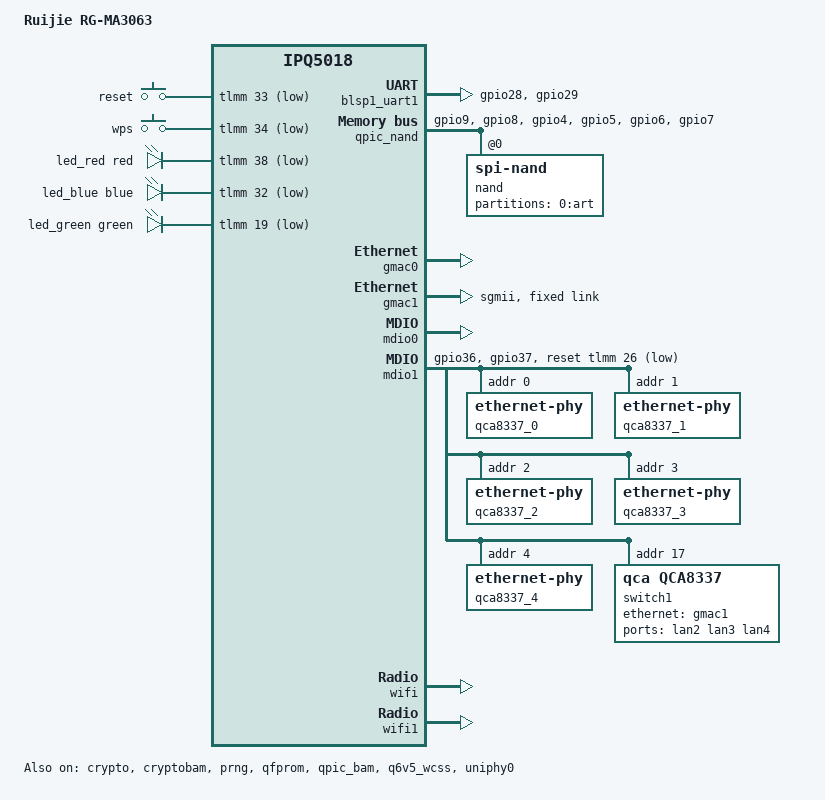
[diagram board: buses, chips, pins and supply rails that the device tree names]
// SPDX-License-Identifier: GPL-2.0-or-later OR MIT

// Port mapping (case labels):
//   LAN1 (uplink) = wan (GMAC0, SoC GE PHY)
//   LAN2 = lan2 (QCA8337 port 1)
//   LAN3 = lan3 (QCA8337 port 2)
//   LAN4 = lan4 (QCA8337 port 3)

/dts-v1/;

#include "ipq5018.dtsi"
#include "ipq5018-ess.dtsi"
#include "ipq5018-qcn6122.dtsi"
#include "ipq5018-nss.dtsi"

#include <dt-bindings/gpio/gpio.h>
#include <dt-bindings/input/input.h>
#include <dt-bindings/leds/common.h>

/ {
	model = "Ruijie RG-MA3063";
	compatible = "ruijie,rg-ma3063", "qcom,ipq5018";

	reserved-memory {
		q6_region_qcn6122_1: q6-region-qcn6122-1@4d200000 {
			reg = <0x0 0x4d200000 0x0 0xd00000>;
			no-map;
		};

		m3_dump_qcn6122_1: m3-dump-qcn6122-1@4df00000 {
			reg = <0x0 0x4df00000 0x0 0x100000>;
			no-map;
		};
	};

	aliases {
		serial0 = &blsp1_uart1;
		led-boot = &led_green;
		led-failsafe = &led_red;
		led-running = &led_green;
		led-upgrade = &led_red;
		label-mac-device = <&gmac0>;
	};

	chosen {
		bootargs-append = " root=/dev/ubiblock0_1 swiotlb=1 coherent_pool=512K";
		stdout-path = "serial0:115200n8";
	};

	keys {
		compatible = "gpio-keys";
		pinctrl-0 = <&button_pins>;
		pinctrl-names = "default";

		reset-button {
			label = "reset";
			gpios = <&tlmm 33 GPIO_ACTIVE_LOW>;
			linux,code = <KEY_RESTART>;
		};

		wps-button {
			label = "wps";
			gpios = <&tlmm 34 GPIO_ACTIVE_LOW>;
			linux,code = <KEY_WPS_BUTTON>;
		};
	};

	leds {
		compatible = "gpio-leds";
		pinctrl-0 = <&led_pins>;
		pinctrl-names = "default";

		led_red: led-red {
			gpios = <&tlmm 38 GPIO_ACTIVE_LOW>;
			color = <LED_COLOR_ID_RED>;
			function = LED_FUNCTION_STATUS;
		};

		led_blue: led-blue {
			gpios = <&tlmm 32 GPIO_ACTIVE_LOW>;
			color = <LED_COLOR_ID_BLUE>;
			function = LED_FUNCTION_STATUS;
		};

		led_green: led-green {
			gpios = <&tlmm 19 GPIO_ACTIVE_LOW>;
			color = <LED_COLOR_ID_GREEN>;
			function = LED_FUNCTION_STATUS;
		};
	};
};

&sleep_clk {
	clock-frequency = <32000>;
};

&xo_board_clk {
	clock-div = <4>;
	clock-mult = <1>;
};

&blsp1_uart1 {
	status = "okay";

	pinctrl-0 = <&serial_0_pins>;
	pinctrl-names = "default";
};

&crypto {
	status = "okay";
};

&cryptobam {
	status = "okay";
};

&prng {
	status = "okay";
};

&qfprom {
	status = "okay";
};

&qpic_bam {
	status = "okay";
};

&qpic_nand {
	pinctrl-0 = <&qpic_pins>;
	pinctrl-names = "default";
	status = "okay";

	nand@0 {
		compatible = "spi-nand";
		reg = <0>;
		nand-ecc-engine = <&qpic_nand>;
		nand-bus-width = <8>;

		partitions {
			compatible = "qcom,smem-part";

			partition-art {
				label = "0:art";
				read-only;

				nvmem-layout {
					compatible = "fixed-layout";
					#address-cells = <1>;
					#size-cells = <1>;

					hw_mac_addr: mac-address@0 {
						compatible = "mac-base";
						reg = <0x0 0x6>;
						#nvmem-cell-cells = <1>;
					};
				};
			};
		};
	};
};

&gmac0 {
	status = "okay";

	label = "wan";

	nvmem-cells = <&hw_mac_addr 0>;
	nvmem-cell-names = "mac-address";
};

&gmac1 {
	status = "okay";

	nvmem-cells = <&hw_mac_addr 1>;
	nvmem-cell-names = "mac-address";
	phy-mode = "sgmii";

	fixed-link {
		speed = <1000>;
		full-duplex;
	};
};

&mdio0 {
	status = "okay";
};

&ge_phy {
	qcom,dac-preset-short-cable;
};

&mdio1 {
	status = "okay";

	pinctrl-0 = <&mdio1_pins>;
	pinctrl-names = "default";
	reset-gpios = <&tlmm 26 GPIO_ACTIVE_LOW>;
	reset-delay-us = <10000>;
	reset-post-delay-us = <150000>;

	qca8337_0: ethernet-phy@0 {
		reg = <0>;
	};

	qca8337_1: ethernet-phy@1 {
		reg = <1>;
	};

	qca8337_2: ethernet-phy@2 {
		reg = <2>;
	};

	qca8337_3: ethernet-phy@3 {
		reg = <3>;
	};

	qca8337_4: ethernet-phy@4 {
		reg = <4>;
	};

	switch1: ethernet-switch@11 {
		compatible = "qca,qca8337";
		reg = <17>;
		#address-cells = <1>;
		#size-cells = <0>;

		ports {
			#address-cells = <1>;
			#size-cells = <0>;

			port@1 {
				reg = <1>;
				label = "lan2";
				phy-handle = <&qca8337_0>;
			};

			port@2 {
				reg = <2>;
				label = "lan3";
				phy-handle = <&qca8337_1>;
			};

			port@3 {
				reg = <3>;
				label = "lan4";
				phy-handle = <&qca8337_2>;
			};


			port@6 {
				reg = <6>;
				phy-mode = "sgmii";
				ethernet = <&gmac1>;
				qca,sgmii-enable-pll;

				fixed-link {
					speed = <1000>;
					full-duplex;
				};
			};
		};
	};
};

&tlmm {
	button_pins: button-state {
		button-pins {
			pins = "gpio34", "gpio33";
			function = "gpio";
			drive-strength = <8>;
			bias-pull-up;
		};
	};

	led_pins: led-state {
		pins = "gpio38", "gpio32", "gpio19";
		function = "gpio";
		drive-strength = <8>;
		bias-disable;
	};

	mdio1_pins: mdio-state {
		mdc-pins {
			pins = "gpio36";
			function = "mdc";
			drive-strength = <8>;
			bias-pull-up;
		};

		mdio-pins {
			pins = "gpio37";
			function = "mdio";
			drive-strength = <8>;
			bias-pull-up;
		};
	};

	qpic_pins: qpic-state {
		clock-pins {
			pins = "gpio9";
			function = "qspi_clk";
			drive-strength = <8>;
			bias-disable;
		};

		cs-pins {
			pins = "gpio8";
			function = "qspi_cs";
			drive-strength = <8>;
			bias-disable;
		};

		data-pins {
			pins = "gpio4", "gpio5", "gpio6", "gpio7";
			function = "qspi_data";
			drive-strength = <8>;
			bias-disable;
		};
	};

	serial_0_pins: uart0-state {
		pins = "gpio28", "gpio29";
		function = "blsp0_uart1";
		drive-strength = <8>;
		bias-disable;
	};
};

&q6v5_wcss {
	status = "okay";
};

&wifi {
	status = "okay";

	qcom,rproc = <&q6v5_wcss>;
	qcom,ath11k-calibration-variant = "Ruijie-RG-MA3063";
	qcom,ath11k-fw-memory-mode = <2>;
	ieee80211-freq-limit = <2400000 2483000>;
};

&wifi1 {
	status = "okay";

	qcom,rproc = <&q6v5_wcss>;
	qcom,ath11k-calibration-variant = "Ruijie-RG-MA3063";
	qcom,ath11k-fw-memory-mode = <2>;
	ieee80211-freq-limit = <5150000 5730000>;

	memory-region = <&q6_region_qcn6122_1>, <&q6_region_ipq5018>, <&m3_dump_qcn6122_1>;
	memory-region-names = "q6-region", "m3-region", "m3-dump";
};

&nss_region {
	reg = <0x0 0x40000000 0x0 0x800000>;
};

&uniphy0 {
	status = "okay";

	assigned-clocks = <&uniphy0 UNIPHY_CLK_REF>;
	assigned-clock-rates = <UNIPHY_REFCLK_25MHZ>;
};
